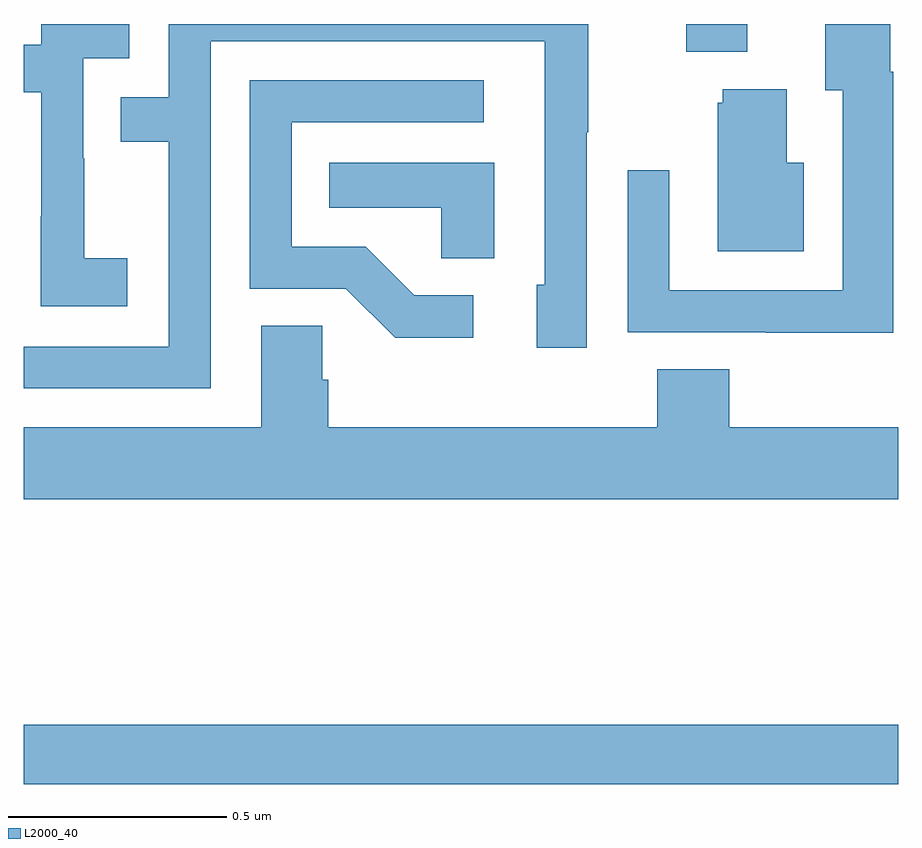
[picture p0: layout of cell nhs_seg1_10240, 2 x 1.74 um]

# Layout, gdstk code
import gdstk
lib = gdstk.Library(unit=1e-6, precision=1e-09)
def R(c, l, rs):  # rectangles x0, y0, x1, y1
    for r in rs: c.add(gdstk.rectangle(r[:2], r[2:], *l))
def P(c, l, *ps):  # polygons
    for p in ps: c.add(gdstk.Polygon(p, *l))
L2000_40 = (2000, 40)

nhs_seg1_10240 = lib.new_cell('nhs_seg1_10240')
R(nhs_seg1_10240, L2000_40, [(239,504.46,241,504.596), (240.515,506.135,240.655,506.199)])
P(nhs_seg1_10240, L2000_40, [(240.989,506.09),(240.982,506.09),(240.982,506.199),(240.833,506.199),(240.833,506.047),(240.873,506.047),(240.873,505.59),(240.477,505.59),(240.477,505.864),(240.381,505.864),(240.381,505.494),(240.697,505.494),(240.697,505.493),(240.989,505.493)],
  [(239.427,506.16),(240.192,506.16),(240.192,505.602),(240.173,505.602),(240.173,505.458),(240.288,505.458),(240.288,505.951),(240.291,505.951),(240.291,506.199),(239.331,506.199),(239.331,506.031),(239.221,506.031),(239.221,505.93),(239.331,505.93),(239.331,505.461),(239,505.461),(239,505.365),(239.427,505.365)],
  [(239.236,505.663),(239.138,505.663),(239.138,505.892),(239.136,505.892),(239.136,506.121),(239.241,506.121),(239.241,506.199),(239.04,506.199),(239.04,506.151),(239,506.151),(239,506.043),(239.039,506.043),(239.039,505.759),(239.038,505.759),(239.038,505.553),(239.236,505.553)],
  [(240.028,505.578),(239.893,505.578),(239.782,505.689),(239.613,505.689),(239.613,505.974),(240.052,505.974),(240.052,506.07),(239.517,506.07),(239.517,505.593),(239.736,505.593),(239.849,505.481),(240.028,505.481)],
  [(240.784,505.882),(240.745,505.882),(240.745,506.05),(240.599,506.05),(240.599,506.019),(240.587,506.019),(240.587,505.679),(240.784,505.679)],
  [(240.076,505.882),(239.698,505.882),(239.698,505.778),(239.955,505.778),(239.955,505.663),(240.076,505.663)],
  [(241,505.276),(240.614,505.276),(240.614,505.409),(240.449,505.409),(240.449,505.276),(239.696,505.276),(239.696,505.385),(239.682,505.385),(239.682,505.508),(239.543,505.508),(239.543,505.276),(239,505.276),(239,505.112),(241,505.112)])

lib.write_gds('nhs_seg1_10240.gds')
